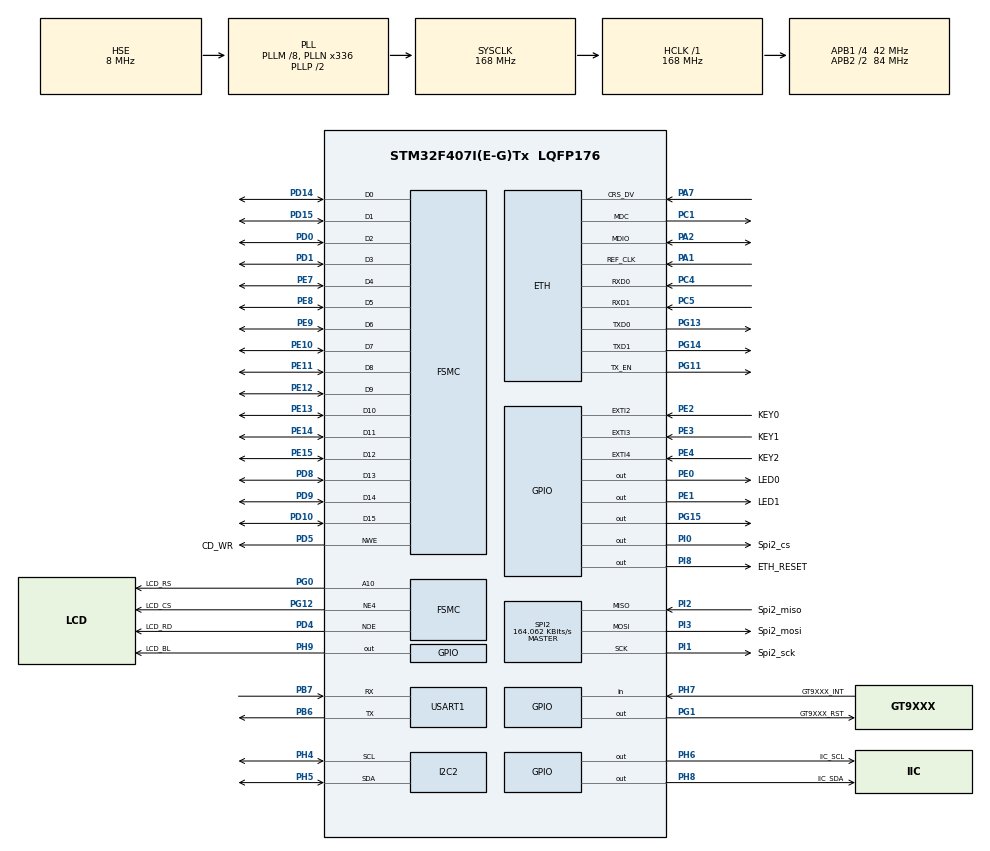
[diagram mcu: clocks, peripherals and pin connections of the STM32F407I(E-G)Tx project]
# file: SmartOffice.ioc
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ETH.MediaInterface=ETH_MEDIA_INTERFACE_RMII
ETH.PHY_DUPLEX_STATUS=0x2000
ETH.PHY_Name_RMII=userPHY
ETH.PHY_SPEED_STATUS=0x4010
ETH.PHY_SR=0x11
ETH.PhyAddress=0
FREERTOS.Tasks01=WebServer,2,4096,WebServer_Task,Default,NULL,Dynamic,NULL,NULL;Touch,1,1024,Touch_Task,Default,NULL,Dynamic,NULL,NULL;IOT,0,256,IOT_Task,Default,NULL,Dynamic,NULL,NULL;GUI,-1,2048,GUI_Task,Default,NULL,Dynamic,NULL,NULL
FREERTOS.configTOTAL_HEAP_SIZE=40960
FSMC.AddressSetupTime1=0xf
FSMC.DataSetupTime1=60
FSMC.ExtendedAddressSetupTime1=9
FSMC.ExtendedDataSetupTime1=9
FSMC.ExtendedMode1=FSMC_EXTENDED_MODE_ENABLE
LWIP.GATEWAY_ADDRESS=010.010.001.001
LWIP.IP_ADDRESS=010.010.001.022
LWIP.LWIP_DHCP=0
LWIP.LWIP_NETIF_LINK_CALLBACK=1
LWIP.MEM_SIZE=1024
LWIP.NETMASK_ADDRESS=255.255.255.000
LWIP.Version=v2.0.3_Cube
Mcu.Family=STM32F4
Mcu.Name=STM32F407I(E-G)Tx
Mcu.Package=LQFP176
NVIC.ETH_IRQn=true\:5\:0\:false\:false\:true\:true\:true\:true
NVIC.EXTI2_IRQn=true\:6\:0\:true\:false\:true\:true\:true\:true
NVIC.EXTI3_IRQn=true\:6\:0\:true\:false\:true\:true\:true\:true
NVIC.EXTI4_IRQn=true\:6\:0\:true\:false\:true\:true\:true\:true
NVIC.PriorityGroup=NVIC_PRIORITYGROUP_4
NVIC.TIM1_UP_TIM10_IRQn=true\:0\:0\:false\:false\:true\:false\:false\:true
NVIC.TimeBase=TIM1_UP_TIM10_IRQn
NVIC.TimeBaseIP=TIM1
PA1.Mode=RMII
PA1.Signal=ETH_REF_CLK
PA13.Mode=Serial_Wire
PA13.Signal=SYS_JTMS-SWDIO
PA14.Mode=Serial_Wire
PA14.Signal=SYS_JTCK-SWCLK
PA2.Mode=RMII
PA2.Signal=ETH_MDIO
PA7.Mode=RMII
PA7.Signal=ETH_CRS_DV
PB6.Mode=Asynchronous
PB6.Signal=USART1_TX
PB7.Mode=Asynchronous
PB7.Signal=USART1_RX
PC1.Mode=RMII
PC1.Signal=ETH_MDC
PC4.Mode=RMII
PC4.Signal=ETH_RXD0
PC5.Mode=RMII
PC5.Signal=ETH_RXD1
PD0.Signal=FSMC_D2_DA2
PD1.Signal=FSMC_D3_DA3
PD10.Signal=FSMC_D15_DA15
PD14.Signal=FSMC_D0_DA0
PD15.Signal=FSMC_D1_DA1
PD4.GPIO_Label=LCD_RD
PD4.GPIO_PuPd=GPIO_PULLUP
PD4.Signal=FSMC_NOE
PD5.GPIO_Label=CD_WR
PD5.GPIO_PuPd=GPIO_PULLUP
PD5.Signal=FSMC_NWE
PD8.Signal=FSMC_D13_DA13
PD9.Signal=FSMC_D14_DA14
PE0.GPIO_Label=LED0
PE0.GPIO_Speed=GPIO_SPEED_FREQ_HIGH
PE0.PinState=GPIO_PIN_SET
PE0.Signal=GPIO_Output
PE1.GPIO_Label=LED1
PE1.GPIO_Speed=GPIO_SPEED_FREQ_HIGH
PE1.PinState=GPIO_PIN_SET
PE1.Signal=GPIO_Output
PE10.Signal=FSMC_D7_DA7
PE11.Signal=FSMC_D8_DA8
PE12.Signal=FSMC_D9_DA9
PE13.Signal=FSMC_D10_DA10
PE14.Signal=FSMC_D11_DA11
PE15.Signal=FSMC_D12_DA12
PE2.GPIO_Label=KEY0
PE2.GPIO_ModeDefaultEXTI=GPIO_MODE_IT_FALLING
PE2.GPIO_PuPd=GPIO_PULLUP
PE2.Signal=GPXTI2
PE3.GPIO_Label=KEY1
PE3.GPIO_ModeDefaultEXTI=GPIO_MODE_IT_FALLING
PE3.GPIO_PuPd=GPIO_PULLUP
PE3.Signal=GPXTI3
PE4.GPIO_Label=KEY2
PE4.GPIO_ModeDefaultEXTI=GPIO_MODE_IT_FALLING
PE4.GPIO_PuPd=GPIO_PULLUP
PE4.Signal=GPXTI4
PE7.Signal=FSMC_D4_DA4
PE8.Signal=FSMC_D5_DA5
PE9.Signal=FSMC_D6_DA6
PG0.GPIO_Label=LCD_RS
PG0.GPIO_PuPd=GPIO_PULLUP
PG0.Signal=FSMC_A10
PG1.GPIO_Label=GT9XXX_RST
PG1.GPIO_PuPd=GPIO_PULLUP
PG1.GPIO_Speed=GPIO_SPEED_FREQ_VERY_HIGH
PG1.Signal=GPIO_Output
PG11.Mode=RMII
PG11.Signal=ETH_TX_EN
PG12.GPIO_Label=LCD_CS
PG12.GPIO_PuPd=GPIO_PULLUP
PG12.Mode=NorPsramChipSelect4_1
PG12.Signal=FSMC_NE4
PG13.Mode=RMII
PG13.Signal=ETH_TXD0
PG14.Mode=RMII
PG14.Signal=ETH_TXD1
PG15.Signal=GPIO_Output
PH0-OSC_IN.Mode=HSE-External-Oscillator
PH0-OSC_IN.Signal=RCC_OSC_IN
PH1-OSC_OUT.Mode=HSE-External-Oscillator
PH1-OSC_OUT.Signal=RCC_OSC_OUT
PH4.Mode=I2C
PH4.Signal=I2C2_SCL
PH5.Mode=I2C
PH5.Signal=I2C2_SDA
PH6.GPIO_Label=IIC_SCL
PH6.GPIO_PuPd=GPIO_PULLUP
PH6.GPIO_Speed=GPIO_SPEED_FREQ_VERY_HIGH
PH6.Signal=GPIO_Output
PH7.GPIO_Label=GT9XXX_INT
PH7.GPIO_PuPd=GPIO_NOPULL
PH7.Signal=GPIO_Input
PH8.GPIO_Label=IIC_SDA
PH8.GPIO_ModeDefaultOutputPP=GPIO_MODE_OUTPUT_OD
PH8.GPIO_PuPd=GPIO_PULLUP
PH8.GPIO_Speed=GPIO_SPEED_FREQ_VERY_HIGH
PH8.Signal=GPIO_Output
PH9.GPIO_Label=LCD_BL
PH9.GPIO_Speed=GPIO_SPEED_FREQ_HIGH
PH9.PinState=GPIO_PIN_SET
PH9.Signal=GPIO_Output
PI0.GPIO_Label=Spi2_cs
PI0.GPIO_PuPd=GPIO_PULLUP
PI0.GPIO_Speed=GPIO_SPEED_FREQ_HIGH
PI0.PinState=GPIO_PIN_SET
PI0.Signal=GPIO_Output
PI1.GPIO_Label=Spi2_sck
PI1.GPIO_PuPd=GPIO_PULLUP
PI1.GPIO_Speed=GPIO_SPEED_FREQ_VERY_HIGH
PI1.Mode=Full_Duplex_Master
PI1.Signal=SPI2_SCK
PI2.GPIO_Label=Spi2_miso
PI2.GPIO_PuPd=GPIO_PULLUP
PI2.Mode=Full_Duplex_Master
PI2.Signal=SPI2_MISO
PI3.GPIO_Label=Spi2_mosi
PI3.GPIO_PuPd=GPIO_PULLUP
PI3.Mode=Full_Duplex_Master
PI3.Signal=SPI2_MOSI
PI8-\ ANTI\ TAMP2.GPIO_Label=ETH_RESET
PI8-\ ANTI\ TAMP2.GPIO_Speed=GPIO_SPEED_FREQ_VERY_HIGH
PI8-\ ANTI\ TAMP2.PinState=GPIO_PIN_SET
PI8-\ ANTI\ TAMP2.Signal=GPIO_Output
ProjectManager.HeapSize=0x200
ProjectManager.StackSize=0x400
ProjectManager.TargetToolchain=MDK-ARM V5
RCC.48MHZClocksFreq_Value=84000000
RCC.AHBFreq_Value=168000000
RCC.APB1CLKDivider=RCC_HCLK_DIV4
RCC.APB1Freq_Value=42000000
RCC.APB1TimFreq_Value=84000000
RCC.APB2CLKDivider=RCC_HCLK_DIV2
RCC.APB2Freq_Value=84000000
RCC.APB2TimFreq_Value=168000000
RCC.CortexFreq_Value=168000000
RCC.HCLKFreq_Value=168000000
RCC.HSE_VALUE=8000000
RCC.HSI_VALUE=16000000
RCC.LSE_VALUE=32768
RCC.PLLM=8
RCC.PLLN=336
RCC.PLLSourceVirtual=RCC_PLLSOURCE_HSE
RCC.SYSCLKFreq_VALUE=168000000
RCC.SYSCLKSource=RCC_SYSCLKSOURCE_PLLCLK
RCC.VCOOutputFreq_Value=336000000
SH.FSMC_A10.0=FSMC_A10,A10_1
SH.FSMC_D0_DA0.0=FSMC_D0,16b-d1
SH.FSMC_D10_DA10.0=FSMC_D10,16b-d1
SH.FSMC_D11_DA11.0=FSMC_D11,16b-d1
SH.FSMC_D12_DA12.0=FSMC_D12,16b-d1
SH.FSMC_D13_DA13.0=FSMC_D13,16b-d1
SH.FSMC_D14_DA14.0=FSMC_D14,16b-d1
SH.FSMC_D15_DA15.0=FSMC_D15,16b-d1
SH.FSMC_D1_DA1.0=FSMC_D1,16b-d1
SH.FSMC_D2_DA2.0=FSMC_D2,16b-d1
SH.FSMC_D3_DA3.0=FSMC_D3,16b-d1
SH.FSMC_D4_DA4.0=FSMC_D4,16b-d1
SH.FSMC_D5_DA5.0=FSMC_D5,16b-d1
SH.FSMC_D6_DA6.0=FSMC_D6,16b-d1
SH.FSMC_D7_DA7.0=FSMC_D7,16b-d1
SH.FSMC_D8_DA8.0=FSMC_D8,16b-d1
SH.FSMC_D9_DA9.0=FSMC_D9,16b-d1
SH.FSMC_NOE.0=FSMC_NOE,Lcd1
SH.FSMC_NWE.0=FSMC_NWE,Lcd1
SPI2.BaudRatePrescaler=SPI_BAUDRATEPRESCALER_256
SPI2.CLKPhase=SPI_PHASE_2EDGE
SPI2.CLKPolarity=SPI_POLARITY_HIGH
SPI2.CalculateBaudRate=164.062 KBits/s
SPI2.Direction=SPI_DIRECTION_2LINES
SPI2.Mode=SPI_MODE_MASTER
SPI2.VirtualType=VM_MASTER
USART1.VirtualMode=VM_ASYNC
VP_FREERTOS_VS_CMSIS_V1.Mode=CMSIS_V1
VP_LWIP_VS_Enabled.Mode=Enabled
VP_SYS_VS_tim1.Mode=TIM1
board=custom

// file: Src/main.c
/* USER CODE BEGIN Header */
/**
  ******************************************************************************
  * @file           : main.c
  * @brief          : Main program body
  ******************************************************************************
  * @attention
  *
  * <h2><center>&copy; Copyright (c) 2024 STMicroelectronics.
  * All rights reserved.</center></h2>
  *
  * This software component is licensed by ST under BSD 3-Clause license,
  * the "License"; You may not use this file except in compliance with the
  * License. You may obtain a copy of the License at:
  *                        opensource.org/licenses/BSD-3-Clause
  *
  ******************************************************************************
  */
/* USER CODE END Header */

#include "main.h"
#include "cmsis_os.h"
#include "i2c.h"
#include "lwip.h"
#include "spi.h"
#include "usart.h"
#include "gpio.h"
#include "fsmc.h"

/* USER CODE BEGIN Includes */
#include "lcd.h"

#include "delay.h"
#include "touch.h"
#include "stm32f4xx_it.h"
/* USER CODE END Includes */

/* USER CODE BEGIN PV */
//lcd
uint8_t lcd_id[12];
uint16_t colors[12] = {WHITE, BLACK, BLUE, RED, MAGENTA, GREEN, CYAN, YELLOW, BRRED, GRAY, LGRAY, BROWN};
uint8_t color_index = 0;

//iic eeprom 24c02
uint8_t W[] = "---iic write correct---";
#define TEXT_SIZE sizeof(W) /* TEXT字符串长度 */
uint8_t R[TEXT_SIZE] = {0};

//sceen touch
/* 10个触控点的颜色(电容触摸屏用) */
const uint16_t POINT_COLOR_TBL[10] = {RED, GREEN, BLUE, BROWN, YELLOW, MAGENTA, CYAN, LIGHTBLUE, BRRED, GRAY};

#define KEY0        HAL_GPIO_ReadPin(KEY0_GPIO_Port, KEY0_Pin)     /* 读取KEY0引脚 */
#define KEY1        HAL_GPIO_ReadPin(KEY1_GPIO_Port, KEY1_Pin)     /* 读取KEY1引脚 */
#define KEY2        HAL_GPIO_ReadPin(KEY2_GPIO_Port, KEY2_Pin)     /* 读取KEY2引脚 */

#define KEY0_PRES    1              /* KEY0按下 */
#define KEY1_PRES    2              /* KEY1按下 */
#define KEY2_PRES    3              /* KEY2按下 */
/* USER CODE END PV */

void SystemClock_Config(void);
void MX_FREERTOS_Init(void);
/* USER CODE BEGIN PFP */
//screen touch test
uint8_t sys_stm32_clock_init(uint32_t plln, uint32_t pllm, uint32_t pllp, uint32_t pllq);
uint8_t key_scan(uint8_t mode);
void load_draw_dialog(void);
void lcd_draw_bline(uint16_t x1, uint16_t y1, uint16_t x2, uint16_t y2, uint8_t size, uint16_t color);
void rtp_test(void);
void ctp_test(void);
/* USER CODE END PFP */

int main(void)
{

  /* MCU Configuration--------------------------------------------------------*/

  /* Reset of all peripherals, Initializes the Flash interface and the Systick. */
  HAL_Init();

  /* Configure the system clock */
  SystemClock_Config();

  /* Initialize all configured peripherals */
  MX_GPIO_Init();
  MX_USART1_UART_Init();
  MX_FSMC_Init();
  MX_I2C2_Init();
  MX_SPI2_Init();
  /* USER CODE BEGIN 2 */
	//lcd init
	/*
	delay_init(168);                    // 延时初始化
	lcd_init();                             // 初始化LCD
  g_point_color = RED;
  sprintf((char *)lcd_id, "LCD ID:%04X", lcddev.id);  // 将LCD ID打印到lcd_id数组
	*/

  //iic eeprom 24c02 test
	/*
	printf("I2C2 EEPROM test!\n");
	Eeprom_Write(0, W, TEXT_SIZE);
	HAL_Delay(1000);
	Eeprom_Read(0, R, TEXT_SIZE);
	printf("Read: %s\n", R);
	*/

	//screen touch init
	/*
	tp_dev.init();                      // 触摸屏初始化

	lcd_show_string(30, 50, 200, 16, 16, "STM32", RED);
	lcd_show_string(30, 70, 200, 16, 16, "TOUCH TEST", RED);
	lcd_show_string(30, 90, 200, 16, 16, "ATOM@ALIENTEK", RED);

	if (tp_dev.touchtype == 0xFF)
	{
		printf("This is ctp screen!\n");
		lcd_show_string(30, 110, 200, 16, 16, "Press KEY0 to Adjust", RED); // 电阻屏才显示
	}

	delay_ms(1000);
	load_draw_dialog();

	if (tp_dev.touchtype & 0x80)
	{
		printf("This is ctp test!\n");
		ctp_test(); // 电容屏测试
	}
	else
	{
		printf("This is rtp test!\n");
		rtp_test(); // 电阻屏测试
	}
	*/

  /* USER CODE END 2 */

  /* Call init function for freertos objects (in freertos.c) */
  MX_FREERTOS_Init();

  /* Start scheduler */
  osKernelStart();

  /* We should never get here as control is now taken by the scheduler */

  /* Infinite loop */
  /* USER CODE BEGIN WHILE */
  while (1)
  {
		//test lwip
		//MX_LWIP_Process();  //lwip进程
		/*
		//lcd test
		lcd_clear(colors[color_index]);  //清屏

		lcd_show_string(10, 40, 240, 32, 32, "STM32", RED);
		lcd_show_string(10, 80, 240, 24, 24, "TFTLCD TEST", RED);
		lcd_show_string(10, 110, 240, 16, 16, "ATOM@ALIENTEK", RED);
		lcd_show_string(10, 130, 240, 16, 16, (char *)lcd_id, RED); // 显示LCD ID
		color_index++;

		if (color_index == 12){
				color_index = 0;
		}
		HAL_GPIO_TogglePin(LED0_GPIO_Port, LED0_Pin); // LED0闪烁
		HAL_Delay(1000);
		*/
    /* USER CODE END WHILE */

  }
}

void SystemClock_Config(void)
{
  RCC_OscInitTypeDef RCC_OscInitStruct = {0};
  RCC_ClkInitTypeDef RCC_ClkInitStruct = {0};

  /** Configure the main internal regulator output voltage
  */
  __HAL_RCC_PWR_CLK_ENABLE();
  __HAL_PWR_VOLTAGESCALING_CONFIG(PWR_REGULATOR_VOLTAGE_SCALE1);
  /** Initializes the CPU, AHB and APB busses clocks
  */
  RCC_OscInitStruct.OscillatorType = RCC_OSCILLATORTYPE_HSE;
  RCC_OscInitStruct.HSEState = RCC_HSE_ON;
  RCC_OscInitStruct.PLL.PLLState = RCC_PLL_ON;
  RCC_OscInitStruct.PLL.PLLSource = RCC_PLLSOURCE_HSE;
  RCC_OscInitStruct.PLL.PLLM = 8;
  RCC_OscInitStruct.PLL.PLLN = 336;
  RCC_OscInitStruct.PLL.PLLP = RCC_PLLP_DIV2;
  RCC_OscInitStruct.PLL.PLLQ = 4;
  if (HAL_RCC_OscConfig(&RCC_OscInitStruct) != HAL_OK)
  {
    Error_Handler();
  }
  /** Initializes the CPU, AHB and APB busses clocks
  */
  RCC_ClkInitStruct.ClockType = RCC_CLOCKTYPE_HCLK|RCC_CLOCKTYPE_SYSCLK
                              |RCC_CLOCKTYPE_PCLK1|RCC_CLOCKTYPE_PCLK2;
  RCC_ClkInitStruct.SYSCLKSource = RCC_SYSCLKSOURCE_PLLCLK;
  RCC_ClkInitStruct.AHBCLKDivider = RCC_SYSCLK_DIV1;
  RCC_ClkInitStruct.APB1CLKDivider = RCC_HCLK_DIV4;
  RCC_ClkInitStruct.APB2CLKDivider = RCC_HCLK_DIV2;

  if (HAL_RCC_ClockConfig(&RCC_ClkInitStruct, FLASH_LATENCY_5) != HAL_OK)
  {
    Error_Handler();
  }
}

/* USER CODE BEGIN 4 */

/**
 * @brief       时钟设置函数
 * @param       plln: PLL1倍频系数(PLL倍频), 取值范围: 64~432.
 * @param       pllm: PLL1预分频系数(进PLL之前的分频), 取值范围: 2~63.
 * @param       pllp: PLL1的p分频系数(PLL之后的分频), 分频后作为系统时钟, 取值范围: 2,4,6,8.(仅限这4个值!)
 * @param       pllq: PLL1的q分频系数(PLL之后的分频), 取值范围: 2~15.
 * @note
 *
 *              Fvco: VCO频率
 *              Fsys: 系统时钟频率, 也是PLL1的p分频输出时钟频率
 *              Fq:   PLL1的q分频输出时钟频率
 *              Fs:   PLL输入时钟频率, 可以是HSI, CSI, HSE等.
 *              Fvco = Fs * (plln / pllm);
 *              Fsys = Fvco / pllp = Fs * (plln / (pllm * pllp));
 *              Fq   = Fvco / pllq = Fs * (plln / (pllm * pllq));
 *
 *              外部晶振为8M的时候, 推荐值: plln = 336, pllm = 8, pllp = 2, pllq = 7.
 *              得到:Fvco = 8 * (336 / 8) = 336Mhz
 *                   Fsys = pll1_p_ck = 336 / 2 = 168Mhz
 *                   Fq   = pll1_q_ck = 336 / 7 = 48
 *
 * @retval      错误代码: 0, 成功; 1, 错误;
 */
uint8_t sys_stm32_clock_init(uint32_t plln, uint32_t pllm, uint32_t pllp, uint32_t pllq)
{
    HAL_StatusTypeDef ret = HAL_OK;
    RCC_ClkInitTypeDef rcc_clk_init_handle;
    RCC_OscInitTypeDef rcc_osc_init_handle;

    __HAL_RCC_PWR_CLK_ENABLE();                                         /* 使能PWR时钟 */

    /* 下面这个设置用来设置调压器输出电压级别，以便在器件以最大频率工作时使性能与功耗实现平衡 */

    __HAL_PWR_VOLTAGESCALING_CONFIG(PWR_REGULATOR_VOLTAGE_SCALE1);      /* VOS = 1, Scale1, 1.2V内核电压,FLASH访问可以得到最高性能 */

    /* 使能HSE，并选择HSE作为PLL时钟源，配置PLL1，开启USB时钟 */
    rcc_osc_init_handle.OscillatorType = RCC_OSCILLATORTYPE_HSE;        /* 时钟源为HSE */
    rcc_osc_init_handle.HSEState = RCC_HSE_ON;                          /* 打开HSE */
    rcc_osc_init_handle.PLL.PLLState = RCC_PLL_ON;                      /* 打开PLL */
    rcc_osc_init_handle.PLL.PLLSource = RCC_PLLSOURCE_HSE;              /* PLL时钟源选择HSE */
    rcc_osc_init_handle.PLL.PLLN = plln;
    rcc_osc_init_handle.PLL.PLLM = pllm;
    rcc_osc_init_handle.PLL.PLLP = pllp;
    rcc_osc_init_handle.PLL.PLLQ = pllq;

    ret = HAL_RCC_OscConfig(&rcc_osc_init_handle);                      /* 初始化RCC */
    if(ret != HAL_OK)
    {
        return 1;                                                       /* 时钟初始化失败，可以在这里加入自己的处理 */
    }

    /* 选中PLL作为系统时钟源并且配置HCLK,PCLK1和PCLK2*/
    rcc_clk_init_handle.ClockType = ( RCC_CLOCKTYPE_SYSCLK \
                                    | RCC_CLOCKTYPE_HCLK \
                                    | RCC_CLOCKTYPE_PCLK1 \
                                    | RCC_CLOCKTYPE_PCLK2);

    rcc_clk_init_handle.SYSCLKSource   = RCC_SYSCLKSOURCE_PLLCLK;       /* 设置系统时钟时钟源为PLL */
    rcc_clk_init_handle.AHBCLKDivider  = RCC_SYSCLK_DIV1;               /* AHB分频系数为1 */
    rcc_clk_init_handle.APB1CLKDivider = RCC_HCLK_DIV4;                 /* APB1分频系数为4 */
    rcc_clk_init_handle.APB2CLKDivider = RCC_HCLK_DIV2;                 /* APB2分频系数为2 */

    ret = HAL_RCC_ClockConfig(&rcc_clk_init_handle, FLASH_LATENCY_5);   /* 同时设置FLASH延时周期为5WS，也就是6个CPU周期 */
    if(ret != HAL_OK)
    {
        return 1;                                                       /* 时钟初始化失败 */
    }

    /* STM32F405x/407x/415x/417x Z版本的器件支持预取功能 */
    if (HAL_GetREVID() == 0x1001)
    {
        __HAL_FLASH_PREFETCH_BUFFER_ENABLE();                           /* 使能flash预取 */
    }
    return 0;
}

/**
 * @brief       按键扫描函数
 * @note        该函数有响应优先级(同时按下多个按键): WK_UP > KEY2 > KEY1 > KEY0!!
 * @param       mode:0 / 1, 具体含义如下:
 *   @arg       0,  不支持连续按(当按键按下不放时, 只有第一次调用会返回键值,
 *                  必须松开以后, 再次按下才会返回其他键值)
 *   @arg       1,  支持连续按(当按键按下不放时, 每次调用该函数都会返回键值)
 * @retval      键值, 定义如下:
 *              KEY0_PRES, 1, KEY0按下
 *              KEY1_PRES, 2, KEY1按下
 *              KEY2_PRES, 3, KEY2按下
 *              WKUP_PRES, 4, WKUP按下
 */
uint8_t key_scan(uint8_t mode)
{
    static uint8_t key_up = 1;  /* 按键按松开标志 */
    uint8_t keyval = 0;

    if (mode) key_up = 1;       /* 支持连按 */

    if (key_up && (KEY0 == 0 || KEY1 == 0 || KEY2 == 0))  /* 按键松开标志为1, 且有任意一个按键按下了 */
    {
        delay_ms(10);           /* 去抖动 */
        key_up = 0;

        if (KEY0 == 0)  keyval = KEY0_PRES;

        if (KEY1 == 0)  keyval = KEY1_PRES;

        if (KEY2 == 0)  keyval = KEY2_PRES;
    }
    else if (KEY0 == 1 && KEY1 == 1 && KEY2 == 1)         /* 没有任何按键按下, 标记按键松开 */
    {
        key_up = 1;
    }

    return keyval;              /* 返回键值 */
}

/**
 * @brief       清空屏幕并在右上角显示 "RST"
 * @param       无
 * @retval      无
 */
void load_draw_dialog(void)
{
    lcd_clear(WHITE);                                                /* 清屏 */
    lcd_show_string(lcddev.width - 24, 0, 200, 16, 16, "RST", BLUE); /* 显示清屏区域 */
}

/**
 * @brief       画粗线
 * @param       x1,y1: 起点坐标
 * @param       x2,y2: 终点坐标
 * @param       size : 线条粗细程度
 * @param       color: 线的颜色
 * @retval      无
 */
void lcd_draw_bline(uint16_t x1, uint16_t y1, uint16_t x2, uint16_t y2, uint8_t size, uint16_t color)
{
    uint16_t t;
    int xerr = 0, yerr = 0, delta_x, delta_y, distance;
    int incx, incy, row, col;

    if (x1 < size || x2 < size || y1 < size || y2 < size)
        return;

    delta_x = x2 - x1; /* 计算坐标增量 */
    delta_y = y2 - y1;
    row = x1;
    col = y1;

    if (delta_x > 0)
    {
        incx = 1; /* 设置单步方向 */
    }
    else if (delta_x == 0)
    {
        incx = 0; /* 垂直线 */
    }
    else
    {
        incx = -1;
        delta_x = -delta_x;
    }

    if (delta_y > 0)
    {
        incy = 1;
    }
    else if (delta_y == 0)
    {
        incy = 0; /* 水平线 */
    }
    else
    {
        incy = -1;
        delta_y = -delta_y;
    }

    if (delta_x > delta_y)
        distance = delta_x; /* 选取基本增量坐标轴 */
    else
        distance = delta_y;

    for (t = 0; t <= distance + 1; t++) /* 画线输出 */
    {
        lcd_fill_circle(row, col, size, color); /* 画点 */
        xerr += delta_x;
        yerr += delta_y;

        if (xerr > distance)
        {
            xerr -= distance;
            row += incx;
        }

        if (yerr > distance)
        {
            yerr -= distance;
            col += incy;
        }
    }
}

/**
 * @brief       电阻触摸屏测试函数
 * @param       无
 * @retval      无
 */
void rtp_test(void)
{
    uint8_t key;
    uint8_t i = 0;

    while (1)
    {
        key = key_scan(0);
        tp_dev.scan(0);

        if (tp_dev.sta & TP_PRES_DOWN)  /* 触摸屏被按下 */
        {
            if (tp_dev.x[0] < lcddev.width && tp_dev.y[0] < lcddev.height)
            {
                if (tp_dev.x[0] > (lcddev.width - 24) && tp_dev.y[0] < 16)
                {
                    load_draw_dialog(); /* 清除 */
                }
                else
                {
                    tp_draw_big_point(tp_dev.x[0], tp_dev.y[0], RED);   /* 画点 */
                }
            }
        }
        else
        {
            delay_ms(10);       /* 没有按键按下的时候 */
        }

        if (key == KEY0_PRES)   /* KEY0按下,则执行校准程序 */
        {
            lcd_clear(WHITE);   /* 清屏 */
            tp_adjust();        /* 屏幕校准 */
            tp_save_adjust_data();
            load_draw_dialog();
        }

        i++;

        if (i % 20 == 0)HAL_GPIO_TogglePin(LED0_GPIO_Port, LED0_Pin); /* LED0闪烁 */
    }
}

/**
 * @brief       电容触摸屏测试函数
 * @param       无
 * @retval      无
 */
void ctp_test(void)
{
		printf("ctp_test!\n");
    uint8_t t = 0;
    uint8_t i = 0;
    uint16_t lastpos[10][2];        /* 最后一次的数据 */
    uint8_t maxp = 5;

    if (lcddev.id == 0x1018)maxp = 10;

    while (1)
    {
        tp_dev.scan(0);

        for (t = 0; t < maxp; t++)
        {
            if ((tp_dev.sta) & (1 << t))
            {
                if (tp_dev.x[t] < lcddev.width && tp_dev.y[t] < lcddev.height)  /* 坐标在屏幕范围内 */
                {
                    if (lastpos[t][0] == 0xFFFF)
                    {
                        lastpos[t][0] = tp_dev.x[t];
                        lastpos[t][1] = tp_dev.y[t];
                    }

                    lcd_draw_bline(lastpos[t][0], lastpos[t][1], tp_dev.x[t], tp_dev.y[t], 2, POINT_COLOR_TBL[t]);  /* 画线 */
                    lastpos[t][0] = tp_dev.x[t];
                    lastpos[t][1] = tp_dev.y[t];

                    if (tp_dev.x[t] > (lcddev.width - 24) && tp_dev.y[t] < 20)
                    {
                        load_draw_dialog(); /* 清除 */
                    }
                }
            }
            else
            {
                lastpos[t][0] = 0xFFFF;
            }
        }

        delay_ms(5);
        i++;

        if (i % 20 == 0)
        {
            HAL_GPIO_TogglePin(LED0_GPIO_Port, LED0_Pin); /* LED0闪烁 */
        }
    }
}

/* USER CODE END 4 */

void HAL_TIM_PeriodElapsedCallback(TIM_HandleTypeDef *htim)
{
  if (htim->Instance == TIM1) {
    HAL_IncTick();
  }
}

void Error_Handler(void)
{
}

/************************ (C) COPYRIGHT STMicroelectronics *****END OF FILE****/

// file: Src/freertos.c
/* USER CODE BEGIN Header */
/**
  ******************************************************************************
  * File Name          : freertos.c
  * Description        : Code for freertos applications
  ******************************************************************************
  * @attention
  *
  * <h2><center>&copy; Copyright (c) 2024 STMicroelectronics.
  * All rights reserved.</center></h2>
  *
  * This software component is licensed by ST under Ultimate Liberty license
  * SLA0044, the "License"; You may not use this file except in compliance with
  * the License. You may obtain a copy of the License at:
  *                             www.st.com/SLA0044
  *
  ******************************************************************************
  */
/* USER CODE END Header */

#include "FreeRTOS.h"
#include "task.h"
#include "main.h"
#include "cmsis_os.h"

/* USER CODE BEGIN Includes */
#include "usart.h"
#include "delay.h"
#include "lcd.h"
#include "touch.h"
#include "norflash.h"

//ds18b20
#include "ds18b20.h"
/* USER CODE END Includes */

/* USER CODE BEGIN Variables */
//lcd
extern uint8_t lcd_id[12]; //main.c
uint16_t id;  //norflash id

//ds18b20
int16_t temperature;
/* USER CODE END Variables */
osThreadId WebServerHandle;
osThreadId TouchHandle;
osThreadId IOTHandle;
osThreadId GUIHandle;

void WebServer_Task(void const * argument);
void Touch_Task(void const * argument);
void IOT_Task(void const * argument);
void GUI_Task(void const * argument);

extern void MX_LWIP_Init(void);
void MX_FREERTOS_Init(void); /* (MISRA C 2004 rule 8.1) */

/* GetIdleTaskMemory prototype (linked to static allocation support) */
void vApplicationGetIdleTaskMemory( StaticTask_t **ppxIdleTaskTCBBuffer, StackType_t **ppxIdleTaskStackBuffer, uint32_t *pulIdleTaskStackSize );

/* USER CODE BEGIN GET_IDLE_TASK_MEMORY */
static StaticTask_t xIdleTaskTCBBuffer;
static StackType_t xIdleStack[configMINIMAL_STACK_SIZE];

void vApplicationGetIdleTaskMemory( StaticTask_t **ppxIdleTaskTCBBuffer, StackType_t **ppxIdleTaskStackBuffer, uint32_t *pulIdleTaskStackSize )
{
  *ppxIdleTaskTCBBuffer = &xIdleTaskTCBBuffer;
  *ppxIdleTaskStackBuffer = &xIdleStack[0];
  *pulIdleTaskStackSize = configMINIMAL_STACK_SIZE;
  /* place for user code */
}
/* USER CODE END GET_IDLE_TASK_MEMORY */

void MX_FREERTOS_Init(void) {

  /* Create the thread(s) */
  /* definition and creation of WebServer */
  osThreadDef(WebServer, WebServer_Task, osPriorityHigh, 0, 4096);
  WebServerHandle = osThreadCreate(osThread(WebServer), NULL);

  /* definition and creation of Touch */
  osThreadDef(Touch, Touch_Task, osPriorityAboveNormal, 0, 1024);
  TouchHandle = osThreadCreate(osThread(Touch), NULL);

  /* definition and creation of IOT */
  osThreadDef(IOT, IOT_Task, osPriorityNormal, 0, 256);
  IOTHandle = osThreadCreate(osThread(IOT), NULL);

  /* definition and creation of GUI */
  osThreadDef(GUI, GUI_Task, osPriorityBelowNormal, 0, 2048);
  GUIHandle = osThreadCreate(osThread(GUI), NULL);

}

void WebServer_Task(void const * argument)
{

  /* init code for LWIP */
  MX_LWIP_Init();

  /* USER CODE BEGIN WebServer_Task */
	//SPI Flash
	norflash_init();  //初始化norflash
	id = norflash_read_id();
	printf("norflash id is %d\n", id);
	osDelay(10);
	if(!DS18B20_Init()){
		printf(" DS18B20  is already\n");

	}else{
		printf(" Can not detect DS18B20!\n");
	}
  /* Infinite loop */
  for(;;)
  {
		temperature = DS18B20_Get_Temp();
		if(temperature<0){
			printf("-");											//显示负号
			temperature=-temperature;					//转为正数
		}
		printf("temperature = %d.%d\n",temperature/10,temperature%10);
    osDelay(1000);
  }
  /* USER CODE END WebServer_Task */
}

void Touch_Task(void const * argument)
{
  /* USER CODE BEGIN Touch_Task */
	//lcd init
	delay_init(168);                    // 延时初始化
	lcd_init();                             // 初始化LCD
  sprintf((char *)lcd_id, "LCD ID:%04X", lcddev.id);  // 将LCD ID打印到lcd_id数组

	//screen touch init
	tp_dev.init();                      // 触摸屏初始化
	/* Infinite loop */
  for(;;)
  {
    osDelay(1);
  }
  /* USER CODE END Touch_Task */
}

void IOT_Task(void const * argument)
{
  for(;;)
  {
    osDelay(1);
  }
}

void GUI_Task(void const * argument)
{
  for(;;)
  {
    osDelay(1);
  }
}

/************************ (C) COPYRIGHT STMicroelectronics *****END OF FILE****/
